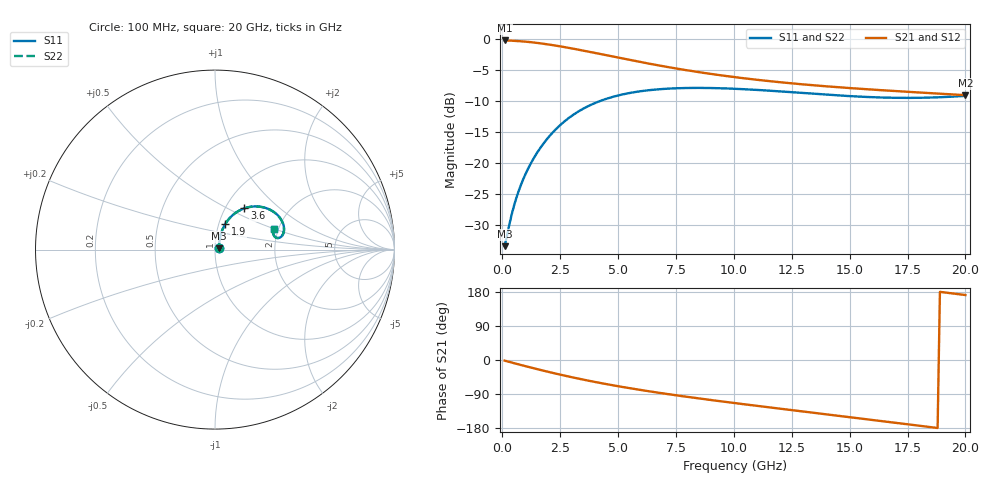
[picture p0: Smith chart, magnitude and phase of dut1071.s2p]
! Touchstone file exported from HFSS 2024.1.0
!  File:  C:/UserFiles/LocalFiles/RDL_TSV_Batchsim/temp_RDL_TSV_1071_1780093417.aedt
!  Generated:  06:38:56 AM May 30, 2026
!  Design:  RDL_TSV
!  Project:  temp_RDL_TSV_1071_1780093417
!  Setup:  Setup1
!  Solution:  Sweep
! Variables:
!  dtsv = 7.2um
!  hbump = 3um
!  htsv = 68.6um
!  ldown = 594.33um
!  lrdl = 239.22um
!  p = 40
!  p1 = 56.02um
!  rhole = 10um
!  subl = 2739.87um
!  t = 450um
!  tdown = 3.92um
!  trdl = 2.74um
!  viad = 10um
!  wdown = 12.75um
!  wrdl = 19.31um
!  xbump = 18um
# GHz S MA R 50.000000
! Terminal data exported
! Port[1] = TM1_1_T1
! Port[2] = TM1_4_T1
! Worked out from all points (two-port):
!   200 points, 100 MHz to 20 GHz, reference 50 ohm
!   highest |S21| = -0.18 dB at 100 MHz (marker M1); lowest = -9.0 dB at 20 GHz (marker M2)
!   |S21| within 3 dB of the highest: start of sweep to 5.316 GHz
!   lowest |S11| = -33.3 dB at 100 MHz (marker M3), VSWR 1.04, Z = 52 + j0.836 ohm
!   |S11| at or under -10 dB: start of sweep to 4.182 GHz
!   |S22| runs from -33.3 to -7.8 dB; largest |S21 - S12| = 2e-14
!   S11 on the Smith chart (normalised r, x): 100 MHz: 1.04, +0.02; 1.9 GHz: 1.07, +0.32; 3.6 GHz: 1.22, +0.61; 20 GHz: 1.90, +0.50
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0.1  0.02151 21.9  0.9799 -1.7  0.9799 -1.7  0.02151 21.9
! Gamma 0 0 0 0
! Port Impedance 50 0 50 0
0.4  0.03833 54.5  0.9758 -6.6  0.9758 -6.6  0.03833 54.4
0.5  0.04514 58.9  0.9736 -8.3  0.9736 -8.3  0.04514 58.9
0.8  0.0667 66.0  0.9655 -13.1  0.9655 -13.1  0.0667 66.0
1  0.08182 68.2  0.9586 -16.3  0.9586 -16.3  0.08181 68.2
1.3  0.1054 69.5  0.9461 -21.0  0.9461 -21.0  0.1054 69.4
1.9  0.1546 68.1  0.9151 -30.0  0.9151 -30.0  0.1545 68.0
2.6  0.2114 63.3  0.8719 -40.0  0.8719 -40.0  0.2113 63.3
3.5  0.2764 55.4  0.8114 -51.8  0.8114 -51.8  0.2761 55.3
3.6  0.2827 54.5  0.8046 -53.1  0.8046 -53.1  0.2825 54.4
4.3  0.3223 48.2  0.7576 -61.4  0.7576 -61.4  0.322 48.2
5  0.3528 42.3  0.7128 -69.2  0.7128 -69.2  0.3524 42.3
5.9  0.3801 35.6  0.6603 -78.4  0.6603 -78.4  0.3797 35.5
6.8  0.3965 29.7  0.6142 -86.9  0.6142 -86.9  0.396 29.7
8.3  0.4061 22.0  0.551 -99.8  0.551 -99.8  0.4055 21.9
10.1  0.3991 15.5  0.4943 -114.1  0.4943 -114.1  0.3984 15.4
11.7  0.384 12.0  0.4571 -126.3  0.4571 -126.3  0.3831 11.9
13.4  0.3648 10.4  0.4271 -138.9  0.4271 -138.9  0.3639 10.4
15.1  0.3479 11.0  0.4038 -151.6  0.4038 -151.6  0.3469 11.0
16.7  0.3386 13.2  0.3858 -163.5  0.3858 -163.5  0.3376 13.2
18.3  0.3388 16.1  0.3701 -175.6  0.3701 -175.6  0.3378 16.2
20  0.3501 19.1  0.3549 171.4  0.3549 171.4  0.3492 19.2
